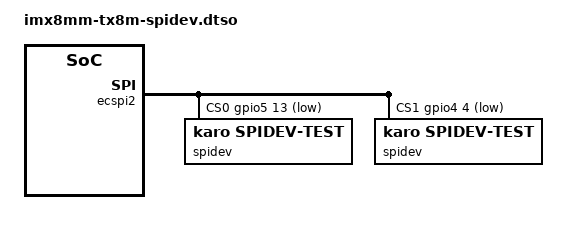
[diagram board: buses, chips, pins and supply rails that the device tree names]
// SPDX-License-Identifier: (GPL-2.0 OR BSD-3-Clause)
/*
 * Copyright (C) 2023 Lothar Waßmann <LW@KARO-electronics.de>
 */

/dts-v1/;

/plugin/;

#include <dt-bindings/gpio/gpio.h>
#include "imx8mm-pinfunc.h"

&{/chosen} {
	overlays {
		tx8m-spidev;
	};
};

&ecspi2 {
	pinctrl-names = "default";
	pinctrl-0 = <&pinctrl_ecspi2 &pinctrl_ecspi2_cs0 &pinctrl_ecspi2_cs1>;
	cs-gpios = <&gpio5 13 GPIO_ACTIVE_LOW &gpio4 4 GPIO_ACTIVE_LOW>;
	status = "okay";

	spidev@0 {
		reg = <0>;
		compatible = "karo,spidev-test";
	};

	spidev@1 {
		reg = <1>;
		compatible = "karo,spidev-test";
	};
};

&iomuxc {
	pinctrl_ecspi2: ecspi2grp {
		fsl,pins = <
			MX8MM_IOMUXC_ECSPI2_SCLK_ECSPI2_SCLK	0x156
			MX8MM_IOMUXC_ECSPI2_MOSI_ECSPI2_MOSI	0x156
			MX8MM_IOMUXC_ECSPI2_MISO_ECSPI2_MISO	0x156
		>;
	};

	pinctrl_ecspi2_cs0: ecspi2-cs0grp {
		fsl,pins = <
			MX8MM_IOMUXC_ECSPI2_SS0_GPIO5_IO13	0x3fe
		>;
	};

	pinctrl_ecspi2_cs1: ecspi2-cs1grp {
		fsl,pins = <
			MX8MM_IOMUXC_SD2_WP_GPIO2_IO20		0x3fe
		>;
	};
};
